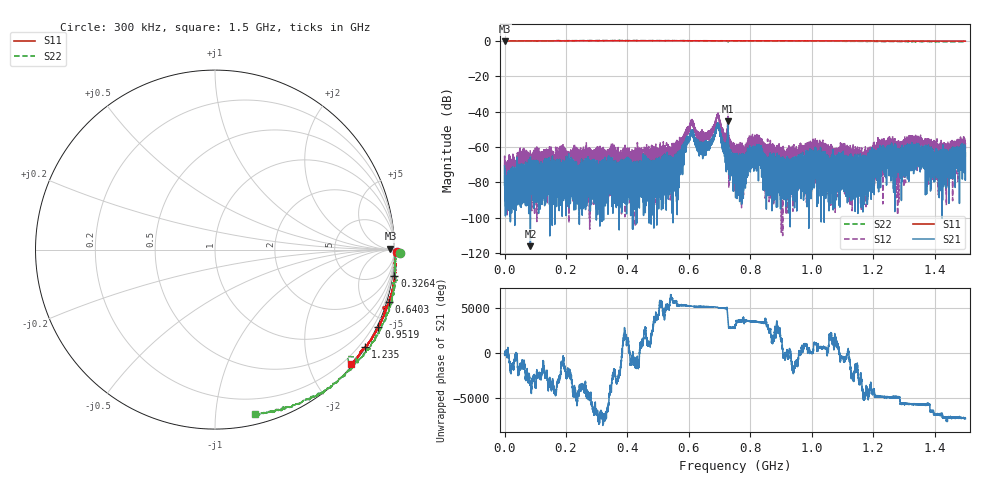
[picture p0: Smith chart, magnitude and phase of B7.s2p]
!Agilent Technologies,N5230C,SG49000117,A.08.50.07
!Agilent N5230C: A.08.50.07
!Date: Thursday, December 07, 2023 05:22:33
!Correction: S11(Full 2 Port(1,2))
!S21(Full 2 Port(1,2))
!S12(Full 2 Port(1,2))
!S22(Full 2 Port(1,2))
!S2P File: Measurements: S11, S21, S12, S22:
# Hz S  RI  R 50
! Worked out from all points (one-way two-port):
!   20001 points, 300 kHz to 1.5 GHz, reference 50 ohm
!   highest |S21| = -45.40 dB at 727.6 MHz (marker M1); lowest = -116.0 dB at 84.21 MHz (marker M2)
!   lowest |S11| = -0.2 dB at 674.9 kHz (marker M3), VSWR 88.73, Z = 4.23e+03 + j927 ohm
!   |S11| at or under -10 dB: nowhere
!   |S22| runs from -0.6 to 0.3 dB; largest |S21 - S12| = 0.0052
!   S11 on the Smith chart (normalised r, x): 300 kHz: open; 326.4 MHz: -1, -14; 640.3 MHz: -0.29, -6.73; 951.9 MHz: -0.08, -4.44; 1.235 GHz: 0.01, -3.38; 1.5 GHz: 0.04, -2.74
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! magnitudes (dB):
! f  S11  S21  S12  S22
! 300 kHz  0.1  -70.7  -71.9  0.3
! 674.9 kHz  -0.2  -75.6  -72.3  -0.6
! 84.21 MHz  0.0  -116.0  -72.6  0.1
! 250.3 MHz  0.1  -78.0  -69.6  0.2
! 326.4 MHz  0.1  -76.4  -70.8  0.3
! 500.2 MHz  0.1  -75.8  -63.8  0.2
! 555.9 MHz  0.1  -71.5  -61.4  0.1
! 607.8 MHz  0.1  -52.6  -45.9  0.2
! 640.3 MHz  0.1  -60.2  -55.5  0.1
! 694.1 MHz  0.0  -47.6  -41.7  0.0
! 727.6 MHz  -0.1  -45.4  -39.9  -0.5
! 750.1 MHz  0.1  -79.8  -64.3  0.1
! 828.4 MHz  0.1  -58.5  -55.9  0.0
! 854.1 MHz  0.1  -71.8  -65.0  0.0
! 951.9 MHz  0.1  -82.0  -74.9  0.0
! 1 GHz  0.1  -70.6  -64.2  0.0
! 1.165 GHz  0.0  -70.0  -74.5  -0.3
! 1.235 GHz  0.0  -65.3  -66.8  -0.3
! 1.25 GHz  -0.1  -64.3  -56.2  -0.2
! 1.331 GHz  0.0  -67.2  -58.6  -0.3
! 1.441 GHz  -0.1  -65.1  -60.0  -0.4
! 1.5 GHz  -0.1  -63.2  -61.0  -0.5
